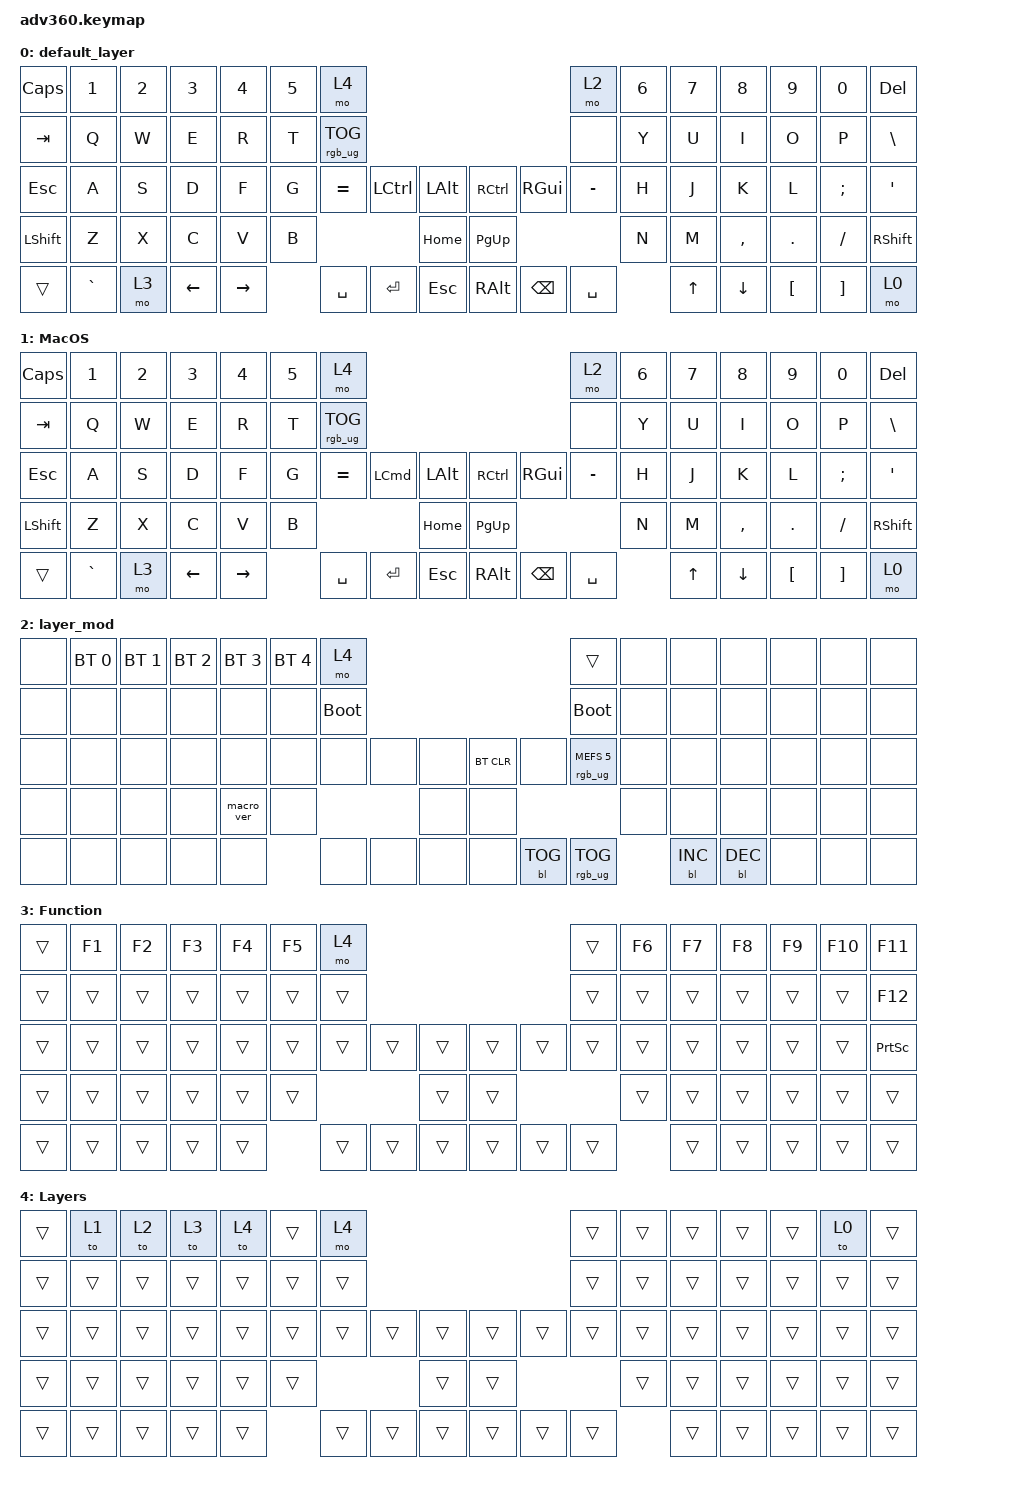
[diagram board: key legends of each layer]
/*
 * Copyright (c) 2020 The ZMK Contributors
 *
 * SPDX-License-Identifier: MIT
 */
/* THIS FILE WAS GENERATED!
 *
 * This file was generated automatically. You may or may not want to
 * edit it directly.
 */

#include <behaviors.dtsi>
#include <dt-bindings/zmk/backlight.h>
#include <dt-bindings/zmk/bt.h>
#include <dt-bindings/zmk/keys.h>
#include <dt-bindings/zmk/rgb.h>

/ {
    behaviors {
        #include "macros.dtsi"
    #include "version.dtsi"

        hm: homerow_mods {
            compatible = "zmk,behavior-hold-tap";
            label = "HOMEROW_MODS";
            #binding-cells = <2>;
            tapping-term-ms = <200>;
            quick_tap_ms = <175>;
            flavor = "tap-preferred";
            bindings = <&kp>, <&kp>;
        };
    };

    keymap {
        compatible = "zmk,keymap";

        default_layer {
            bindings = <
&kp CAPS   &kp N1     &kp N2  &kp N3    &kp N4     &kp N5  &mo 4                                                                              &mo 2      &kp N6  &kp N7  &kp N8     &kp N9    &kp N0    &kp DELETE
&kp TAB    &kp Q      &kp W   &kp E     &kp R      &kp T   &rgb_ug RGB_TOG                                                                    &none      &kp Y   &kp U   &kp I      &kp O     &kp P     &kp BSLH
&kp ESC    &kp A      &kp S   &kp D     &kp F      &kp G   &kp EQUAL        &kp LEFT_CONTROL  &kp LALT      &kp RIGHT_CONTROL  &kp RIGHT_GUI  &kp MINUS  &kp H   &kp J   &kp K      &kp L     &kp SEMI  &kp SQT
&kp LSHFT  &kp Z      &kp X   &kp C     &kp V      &kp B                                      &kp HOME      &kp PG_UP                                    &kp N   &kp M   &kp COMMA  &kp DOT   &kp FSLH  &kp RSHFT
&trans     &kp GRAVE  &mo 3   &kp LEFT  &kp RIGHT          &kp SPACE        &kp ENTER         &kp ESC       &kp RIGHT_ALT      &kp BACKSPACE  &kp SPACE          &kp UP  &kp DOWN   &kp LBKT  &kp RBKT  &mo 0
            >;
        };

        MacOS {
            bindings = <
&kp CAPS   &kp N1     &kp N2  &kp N3    &kp N4     &kp N5  &mo 4                                                                              &mo 2      &kp N6  &kp N7  &kp N8     &kp N9    &kp N0    &kp DELETE
&kp TAB    &kp Q      &kp W   &kp E     &kp R      &kp T   &rgb_ug RGB_TOG                                                                    &none      &kp Y   &kp U   &kp I      &kp O     &kp P     &kp BSLH
&kp ESC    &kp A      &kp S   &kp D     &kp F      &kp G   &kp EQUAL        &kp LEFT_COMMAND  &kp LALT      &kp RIGHT_CONTROL  &kp RIGHT_GUI  &kp MINUS  &kp H   &kp J   &kp K      &kp L     &kp SEMI  &kp SQT
&kp LSHFT  &kp Z      &kp X   &kp C     &kp V      &kp B                                      &kp HOME      &kp PG_UP                                    &kp N   &kp M   &kp COMMA  &kp DOT   &kp FSLH  &kp RSHFT
&trans     &kp GRAVE  &mo 3   &kp LEFT  &kp RIGHT          &kp SPACE        &kp ENTER         &kp ESC       &kp RIGHT_ALT      &kp BACKSPACE  &kp SPACE          &kp UP  &kp DOWN   &kp LBKT  &kp RBKT  &mo 0
            >;
        };

        layer_mod {
            bindings = <
&none  &bt BT_SEL 0  &bt BT_SEL 1  &bt BT_SEL 2  &bt BT_SEL 3  &bt BT_SEL 4  &mo 4                                                  &trans                  &none  &none       &none       &none  &none  &none
&none  &none         &none         &none         &none         &none         &bootloader                                            &bootloader             &none  &none       &none       &none  &none  &none
&none  &none         &none         &none         &none         &none         &none        &none  &none      &bt BT_CLR  &none       &rgb_ug RGB_MEFS_CMD 5  &none  &none       &none       &none  &none  &none
&none  &none         &none         &none         &macro_ver    &none                             &none      &none                                           &none  &none       &none       &none  &none  &none
&none  &none         &none         &none         &none                       &none        &none  &none      &none       &bl BL_TOG  &rgb_ug RGB_TOG                &bl BL_INC  &bl BL_DEC  &none  &none  &none
            >;
        };

        Function {
            bindings = <
&trans  &kp F1  &kp F2  &kp F3  &kp F4  &kp F5  &mo 4                                       &trans  &kp F6  &kp F7  &kp F8  &kp F9  &kp F10  &kp F11
&trans  &trans  &trans  &trans  &trans  &trans  &trans                                      &trans  &trans  &trans  &trans  &trans  &trans   &kp F12
&trans  &trans  &trans  &trans  &trans  &trans  &trans  &trans  &trans      &trans  &trans  &trans  &trans  &trans  &trans  &trans  &trans   &kp PRINTSCREEN
&trans  &trans  &trans  &trans  &trans  &trans                  &trans      &trans                  &trans  &trans  &trans  &trans  &trans   &trans
&trans  &trans  &trans  &trans  &trans          &trans  &trans  &trans      &trans  &trans  &trans          &trans  &trans  &trans  &trans   &trans
            >;
        };

        Layers {
            bindings = <
&trans  &to 1   &to 2   &to 3   &to 4   &trans  &mo 4                                       &trans  &trans  &trans  &trans  &trans  &to 0   &trans
&trans  &trans  &trans  &trans  &trans  &trans  &trans                                      &trans  &trans  &trans  &trans  &trans  &trans  &trans
&trans  &trans  &trans  &trans  &trans  &trans  &trans  &trans  &trans      &trans  &trans  &trans  &trans  &trans  &trans  &trans  &trans  &trans
&trans  &trans  &trans  &trans  &trans  &trans                  &trans      &trans                  &trans  &trans  &trans  &trans  &trans  &trans
&trans  &trans  &trans  &trans  &trans          &trans  &trans  &trans      &trans  &trans  &trans          &trans  &trans  &trans  &trans  &trans
            >;
        };
    };
};
